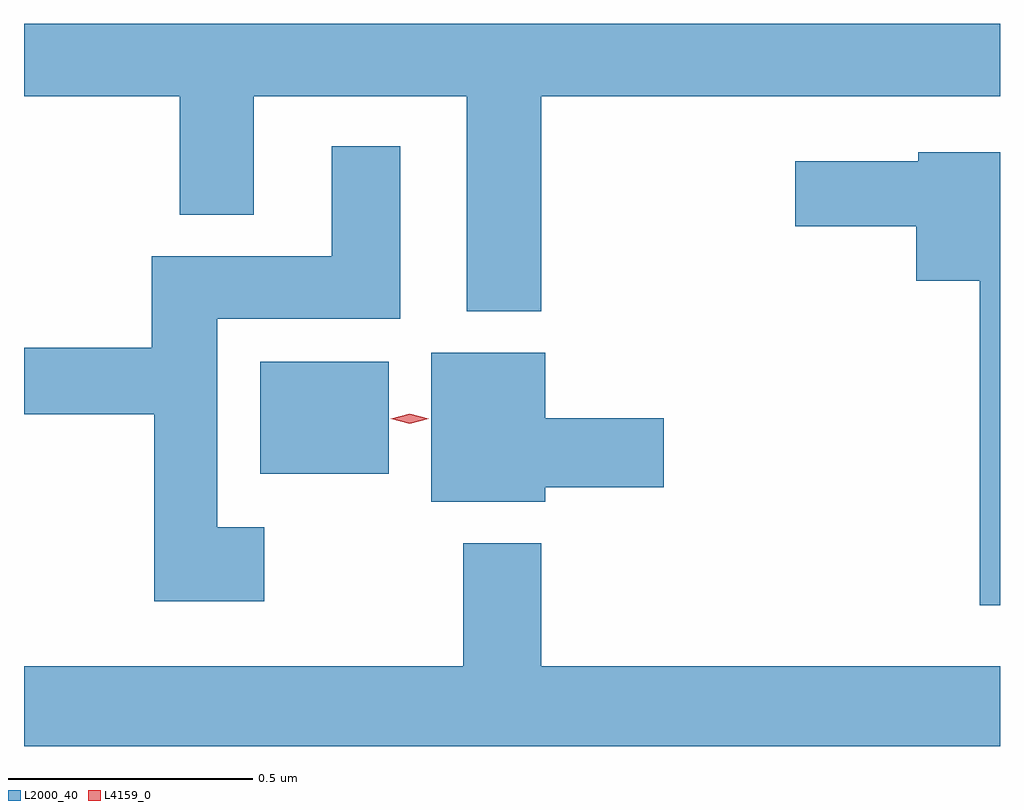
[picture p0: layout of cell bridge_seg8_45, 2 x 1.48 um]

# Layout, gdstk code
import gdstk
lib = gdstk.Library(unit=1e-6, precision=1e-09)
def R(c, l, rs):  # rectangles x0, y0, x1, y1
    for r in rs: c.add(gdstk.rectangle(r[:2], r[2:], *l))
def P(c, l, *ps):  # polygons
    for p in ps: c.add(gdstk.Polygon(p, *l))
L2000_40 = (2000, 40)
L4159_0 = (4159, 0)

bridge_seg8_45 = lib.new_cell('bridge_seg8_45')
R(bridge_seg8_45, L2000_40, [(876.194,1113.062,876.457,1113.292)])
P(bridge_seg8_45, L2000_40, [(876.77,1113.836),(877.71,1113.836),(877.71,1113.984),(875.71,1113.984),(875.71,1113.836),(876.029,1113.836),(876.029,1113.593),(876.181,1113.593),(876.181,1113.836),(876.617,1113.836),(876.617,1113.395),(876.77,1113.395)],
  [(876.202,1112.953),(876.106,1112.953),(876.106,1113.38),(876.481,1113.38),(876.481,1113.733),(876.341,1113.733),(876.341,1113.508),(875.972,1113.508),(875.972,1113.32),(875.71,1113.32),(875.71,1113.184),(875.977,1113.184),(875.977,1112.801),(876.202,1112.801)],
  [(877.71,1113.721),(877.542,1113.721),(877.542,1113.703),(877.29,1113.703),(877.29,1113.569),(877.538,1113.569),(877.538,1113.458),(877.668,1113.458),(877.668,1112.793),(877.71,1112.793)],
  [(876.778,1113.034),(877.021,1113.034),(877.021,1113.176),(876.778,1113.176),(876.778,1113.31),(876.545,1113.31),(876.545,1113.005),(876.778,1113.005)],
  [(877.71,1112.668),(876.77,1112.668),(876.77,1112.92),(876.61,1112.92),(876.61,1112.668),(875.71,1112.668),(875.71,1112.504),(877.71,1112.504)])
P(bridge_seg8_45, L4159_0, [(876.5,1113.165),(876.462,1113.175),(876.462,1113.175),(876.462,1113.175),(876.5,1113.185),(876.539,1113.175),(876.539,1113.175),(876.539,1113.175)])

lib.write_gds('bridge_seg8_45.gds')
